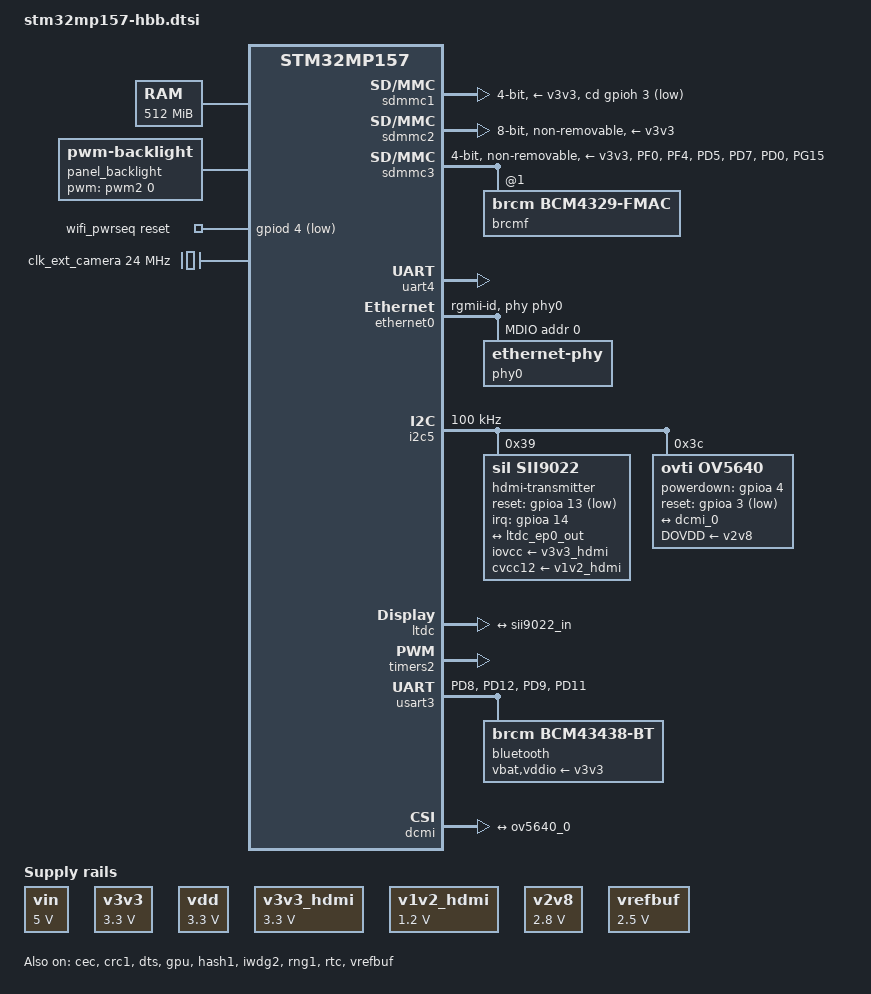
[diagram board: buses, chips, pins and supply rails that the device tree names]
#include "stm32mp157-m4-srm.dtsi"
#include "stm32mp157-m4-srm-pinctrl.dtsi"
#include <dt-bindings/mfd/st,stpmic1.h>
#include <dt-bindings/rtc/rtc-stm32.h>
/ { 
	memory@c0000000 {  
		device_type = "memory";  
		reg = <0xc0000000 0x20000000>;
	};

	reserved-memory {
		#address-cells = <1>;
		#size-cells = <1>;
		ranges;

		mcuram2: mcuram2@10000000 {
				compatible = "shared-dma-pool";
				reg = <0x10000000 0x40000>;
				no-map;
			 };

		vdev0vring0: vdev0vring0@10040000 {
				compatible = "shared-dma-pool";
				reg = <0x10040000 0x1000>;
				no-map;
				 };

		vdev0vring1: vdev0vring1@10041000 {
				 compatible = "shared-dma-pool";
				 reg = <0x10041000 0x1000>;
				 no-map;
			 };

		vdev0buffer: vdev0buffer@10042000 {
				 compatible = "shared-dma-pool";
				 reg = <0x10042000 0x4000>;
				 no-map;
			 };

		mcuram: mcuram@30000000 {
			compatible = "shared-dma-pool";
			reg = <0x30000000 0x40000>;
			no-map;
		};

		retram: retram@38000000 {
			compatible = "shared-dma-pool";
			reg = <0x38000000 0x10000>;
			no-map;
		};
	};

	vin: vin {
			 compatible = "regulator-fixed";
			 regulator-name = "vin";
			 regulator-min-microvolt = <5000000>;
			 regulator-max-microvolt = <5000000>;
			 regulator-always-on;
		 };

	v3v3: regulator-3p3v {
			  compatible = "regulator-fixed";
			  regulator-name = "v3v3";
			  regulator-min-microvolt = <3300000>;
			  regulator-max-microvolt = <3300000>;
			  regulator-always-on;
			  regulator-boot-on;
		  };

	vdd: regulator-vdd { 
			 compatible = "regulator-fixed";
			 regulator-name = "vdd";
			 regulator-min-microvolt = <3300000>;
			 regulator-max-microvolt = <3300000>;
			 regulator-always-on;
			 regulator-boot-on;
		 };

	v3v3_hdmi: regulator-v3v3-hdmi {
			compatible = "regulator-fixed";
			regulator-name = "v3v3_hdmi ";
			regulator-min-microvolt = <3300000>;
			regulator-max-microvolt = <3300000>;
			regulator-always-on;
			regulator-boot-on;
		};
		
	v1v2_hdmi: regulator-v1v2-hdmi {
		compatible = "regulator-fixed";
		regulator-name = "v1v2_hdmi";
		regulator-min-microvolt = <1200000>;
		regulator-max-microvolt = <1200000>;
		regulator-always-on;
		regulator-boot-on;
	};
    panel_backlight: panel-backlight {
        compatible = "pwm-backlight";
        pwms = <&pwm2 0 5000000>;
        brightness-levels = <0 4 8 16 32 64 128 255>;
        default-brightness-level = <6>;
        status = "okay";
};

    wifi_pwrseq: wifi-pwrseq {
        compatible = "mmc-pwrseq-simple";
        reset-gpios = <&gpiod 4 GPIO_ACTIVE_LOW>;
    };
    v2v8: regulator-2p8v {
        compatible = "regulator-fixed";
        regulator-name = "v2v8";
        regulator-min-microvolt = <2800000>;
        regulator-max-microvolt = <2800000>;
        regulator-always-on;
        regulator-boot-on;
    };

    clocks {
        clk_ext_camera: clk-ext-camera {
        #clock-cells = <0>;
        compatible = "fixed-clock";
        clock-frequency = <24000000>;
        };
    };
};

/*HDMI CEC 控制器*/
&cec {
	pinctrl-names = "default", "sleep";
	pinctrl-0 = <&cec_pins_b>;
	pinctrl-1 = <&cec_pins_sleep_b>;
	status = "okay";
};

/*循环冗余校验计算单元*/
&crc1 {
	status = "okay";
};

&dma1 {
	sram = <&dma_pool>;
};

&dma2 {
	sram = <&dma_pool>;
};
/*数字钟温度传感器*/
&dts {
	status = "okay";
};
/*图像处理单元*/
&gpu {
	contiguous-area = <&gpu_reserved>;
	status = "okay";
};
/*哈希处理器*/
&hash1 {
	status = "okay";
};

/*处理器间通信控制器*/
&ipcc {
	status = "okay";
};

/*看门狗*/
&iwdg2 {
	timeout-sec = <32>;
	status = "okay";
};

/*随机数发生器*/
&rng1 {
	status = "okay";
};

/*实时时钟*/
&rtc {
    st,lsco = <RTC_OUT2_RMP>;
    pinctrl-0 = <&rtc_out2_rmp_pins_a>;
    pinctrl-names = "default";
	status = "okay";
};

/*sdmmc1 TF 卡*/
&sdmmc1 {
	pinctrl-names = "default", "opendrain", "sleep";
	pinctrl-0 = <&sdmmc1_b4_pins_a>;
	pinctrl-1 = <&sdmmc1_b4_od_pins_a>;
	pinctrl-2 = <&sdmmc1_b4_sleep_pins_a>;
	cd-gpios = <&gpioh 3 (GPIO_ACTIVE_LOW | GPIO_PULL_UP)>;
	disable-wp;
	st,neg-edge;
	bus-width = <4>;
	vmmc-supply = <&v3v3>;
	status = "okay";
};

/*emmc设备树配置*/
&sdmmc2 {
	pinctrl-names = "default", "opendrain", "sleep";
	pinctrl-0 = <&sdmmc2_b4_pins_a &sdmmc2_d47_pins_a>;
	pinctrl-1 = <&sdmmc2_b4_od_pins_a &sdmmc2_d47_pins_a>;
	pinctrl-2 = <&sdmmc2_b4_sleep_pins_a &sdmmc2_d47_sleep_pins_a>;
	non-removable;
	no-sd;
	no-sdio;
	st,neg-edge;
	bus-width = <8>;
	vmmc-supply = <&v3v3>;
	vqmmc-supply = <&vdd>;
	mmc-ddr-3_3v;
	status = "okay";
};

/*
&sdmmc3{
    arm,primecell-periphid = <0x10153180>;
    pinctrl-names = "default", "opendrain", "sleep";
    pinctrl-0 = <&sdmmc3_b4_wifi_pins_a>;
    pinctrl-1 = <&sdmmc3_b4_od_wifi_pins_a>;
    pinctrl-2 = <&sdmmc3_b4_sleep_wifi_pins_a>;
    non-removable;
    st,neg-edge;
    bus-width = <4>;
    vmmc-supply = <&v3v3>;
    mmc-pwrseq = <&wifi_pwrseq>;
    #address-cells = <1>;
    #size-cells = <0>;
    keep-power-in-suspend;
    status = "okay";

    brcmf: bcrmf@1 {
        reg = <1>;
        compatible = "brcm,bcm4329-fmac";
    };
};*/



&sdmmc3 {
    arm,primecell-periphid = <0x10153180>;
    pinctrl-names = "default", "opendrain", "sleep";
    pinctrl-0 = <&sdmmc3_b4_wifi_pins_a>;
    pinctrl-1 = <&sdmmc3_b4_od_wifi_pins_a>;
    pinctrl-2 = <&sdmmc3_b4_sleep_wifi_pins_a>;
    non-removable;
    st,neg-edge;
    bus-width = <4>;
    vmmc-supply = <&v3v3>;
    mmc-pwrseq = <&wifi_pwrseq>;
    #address-cells = <1>;
    #size-cells = <0>;
    keep-power-in-suspend;
    status = "okay";

    brcmf: bcrmf@1 {
        reg = <1>;
        compatible = "brcm,bcm4329-fmac";
    };
};
&sram {
dma_pool: dma_pool@0 {
		  reg = <0x50000 0x10000>;
		  pool;
	  };
};

/*命令行终端*/
&uart4 {
	pinctrl-names = "default", "sleep", "idle";
	pinctrl-0 = <&uart4_pins_a>;
	pinctrl-1 = <&uart4_sleep_pins_a>;
	pinctrl-2 = <&uart4_idle_pins_a>;
	pinctrl-3 = <&uart4_pins_a>;
	/delete-property/dmas;
	/delete-property/dma-names;
	status = "okay";
};

/*电源基准缓冲器*/
&vrefbuf {
	regulator-min-microvolt = <2500000>;
	regulator-max-microvolt = <2500000>;
	vdda-supply = <&vdd>;
	status = "okay"; 
};

/*网卡驱动设备树配置*/
&ethernet0 {
	status = "okay";
	pinctrl-0 = <&ethernet0_rgmii_pins_a>;
	pinctrl-1 = <&ethernet0_rgmii_pins_sleep_a>;
	pinctrl-names = "default", "sleep";
	phy-mode = "rgmii-id";
	max-speed = <1000>;
	phy-handle = <&phy0>;
	mdio0 {
		#address-cells = <1>;
			#size-cells = <0>;
			compatible = "snps,dwmac-mdio";
			phy0: ethernet-phy@0 {
			reg = <0>;
			};
		};
};

/*HDMI配置*/
&i2c5 {
	pinctrl-names = "default", "sleep";
	pinctrl-0 = <&i2c5_pins_a>;
	pinctrl-1 = <&i2c5_pins_sleep_a>;
	i2c-scl-rising-time-ns = <100>;
	i2c-scl-falling-time-ns = <7>;
	clock-frequency = <100000>;
	/* spare dmas for other usage */
	/delete-property/dmas;
	/delete-property/dma-names;
	status = "okay";
	hdmi-transmitter@39 {
		compatible = "sil,sii9022";
		reg = <0x39>;
		iovcc-supply = <&v3v3_hdmi>;
		cvcc12-supply = <&v1v2_hdmi>;
		reset-gpios = <&gpioa 13 GPIO_ACTIVE_LOW>;
		interrupts = <14 IRQ_TYPE_EDGE_FALLING>;
		interrupt-parent = <&gpioa>;
		#sound-dai-cells = <0>;
		status = "okay";
		ports {
			#address-cells = <1>;
			#size-cells = <0>;
			port@0 {
				reg = <0>;
				sii9022_in: endpoint {
					remote-endpoint = <&ltdc_ep0_out>;
					};
				};
			};
		};

    ov5640: camera@3c {
        compatible = "ovti,ov5640";
        reg = <0x3c>;
        clocks = <&clk_ext_camera>;
        clock-names = "xclk";
        DOVDD-supply = <&v2v8>;
        powerdown-gpios = <&gpioa 4 (GPIO_ACTIVE_HIGH | GPIO_PUSH_PULL)>;
        reset-gpios = <&gpioa 3 (GPIO_ACTIVE_LOW | GPIO_PUSH_PULL)>;
        rotation = <180>;
        status = "okay";
        port {
            ov5640_0: endpoint {
            remote-endpoint = <&dcmi_0>;
            bus-width = <8>;
            data-shift = <2>; /* lines 9:2 are used */
            hsync-active = <0>;
            vsync-active = <0>;
            pclk-sample = <1>;
            pclk-max-frequency = <77000000>;
         };
         };
    };
	};
	
&ltdc {
	pinctrl-names = "default", "sleep";
	pinctrl-0 = <&ltdc_pins_b>;
	pinctrl-1 = <&ltdc_pins_sleep_b>;
	status = "okay";
	port {
		#address-cells = <1>;
		#size-cells = <0>;
		ltdc_ep0_out: endpoint@0 {
			reg = <0>;
			remote-endpoint = <&sii9022_in>;
		};
	};
};

&timers2 {
	/* spare dmas for other usage */
	/delete-property/dmas;
	/delete-property/dma-names;
	status = "okay";
	pwm2: pwm {
		pinctrl-0 = <&pwm2_pins_b>;
		pinctrl-1 = <&pwm2_sleep_pins_b>;
		pinctrl-names = "default", "sleep";
		#pwm-cells = <2>;
		status = "okay";
	};
	timer@2 {
		status = "disabled";
	};
};
&pinctrl {
    usart3_pins_bt: usart3-bt-0 {
    	pins1 {
       		pinmux = <STM32_PINMUX('D', 8, AF7)>, /* USART3_TX */
              <STM32_PINMUX('D', 12, AF7)>; /* USART3_RTS */
       		bias-disable;
       		drive-push-pull;
       		slew-rate = <0>;
    	};
    	pins2 {
       		pinmux = <STM32_PINMUX('D', 9, AF7)>, /* USART3_RX */
              <STM32_PINMUX('D', 11, AF7)>; /* USART3_CTS_NSS */
       		bias-disable;
    	};
	};

	usart3_idle_pins_bt: usart3-idle-bt-0 {
    	pins1 {
        	pinmux = <STM32_PINMUX('D', 8, ANALOG)>, /* USART3_TX */
               <STM32_PINMUX('D', 12, ANALOG)>, /* USART3_RTS */
               <STM32_PINMUX('D', 11, ANALOG)>; /* USART3_CTS_NSS */
    	};
    	pins2 {
        	pinmux = <STM32_PINMUX('D', 9, AF7)>; /* USART3_RX */
        	bias-disable;
    	};
	};

	usart3_sleep_pins_bt: usart3-sleep-bt-0 {
    	pins {
        	pinmux = <STM32_PINMUX('D', 8, ANALOG)>, /* USART3_TX */
                <STM32_PINMUX('D', 12, ANALOG)>, /* USART3_RTS */
                <STM32_PINMUX('D', 11, ANALOG)>, /* USART3_CTS_NSS */
                <STM32_PINMUX('D', 9, ANALOG)>; /* USART3_RX */
    	};
	};

    btreg0: bt_reg_on-0 {
    	pins {
        	pinmux = <STM32_PINMUX('D', 13, GPIO)>;
        	drive-push-pull;
        	bias-pull-up;
        	output-high;
        	slew-rate = <0>;
    	};
	};

    sdmmc3_b4_wifi_pins_a: sdmmc3-b4-wifi-0 {
    	pins1 {
        	pinmux = <STM32_PINMUX('F', 0, AF9)>, /* SDMMC3_D0 */
             	<STM32_PINMUX('F', 4, AF9)>, /* SDMMC3_D1 */
             	<STM32_PINMUX('D', 5, AF10)>, /* SDMMC3_D2 */
            	<STM32_PINMUX('D', 7, AF10)>, /* SDMMC3_D3 */
             	<STM32_PINMUX('D', 0, AF10)>; /* SDMMC3_CMD */
        	slew-rate = <1>;
        	drive-push-pull;
        	bias-pull-up;
    	};
    	pins2 {
        	pinmux = <STM32_PINMUX('G', 15, AF10)>; /* SDMMC3_CK */
        	slew-rate = <2>;
        	drive-push-pull;
        	bias-pull-up;
    	};
	};

	sdmmc3_b4_od_wifi_pins_a: sdmmc3-b4-od-wifi-0 {
    	pins1 {
        	pinmux = <STM32_PINMUX('F', 0, AF9)>, /* SDMMC3_D0 */
            	<STM32_PINMUX('F', 4, AF9)>, /* SDMMC3_D1 */
             	<STM32_PINMUX('D', 5, AF10)>, /* SDMMC3_D2 */
             	<STM32_PINMUX('D', 7, AF10)>; /* SDMMC3_D3 */
        	slew-rate = <1>;
        	drive-push-pull;
        	bias-pull-up;
    	};

    	pins2 {
        	pinmux = <STM32_PINMUX('G', 15, AF10)>; /* SDMMC3_CK */
        	slew-rate = <2>;
        	drive-push-pull;
        	bias-pull-up;
    	};

    	pins3 {
        	pinmux = <STM32_PINMUX('D', 0, AF10)>; /* SDMMC2_CMD */
        	slew-rate = <1>;
        	drive-open-drain;
        	bias-pull-up;
    	};
	};

	sdmmc3_b4_sleep_wifi_pins_a: sdmmc3-b4-sleep-wifi-0 {
    	pins {
        	pinmux = <STM32_PINMUX('F', 0, ANALOG)>, /* SDMMC3_D0 */
             	<STM32_PINMUX('F', 4, ANALOG)>, /* SDMMC3_D1 */
             	<STM32_PINMUX('D', 5, ANALOG)>, /* SDMMC3_D2 */
             	<STM32_PINMUX('D', 7, ANALOG)>, /* SDMMC3_D3 */
             	<STM32_PINMUX('G', 15, ANALOG)>, /* SDMMC3_CK */
             	<STM32_PINMUX('D', 0, ANALOG)>; /* SDMMC3_CMD */
    	};
	};


	pwm2_pins_b: pwm2-0 {
		pins {
			pinmux = <STM32_PINMUX('A', 5, AF1)>; /* TIM2_CH1 */
			bias-pull-down;
			drive-push-pull;
			slew-rate = <0>;
		};
	};
	pwm2_sleep_pins_b: pwm1-sleep-0 {
		pins {
		pinmux = <STM32_PINMUX('A', 5, ANALOG)>; /* TIM2_CH1 */
		};
	};
};

&usart3 {
    pinctrl-names = "default", "sleep", "idle";
    pinctrl-0 = <&usart3_pins_bt>;
     pinctrl-1 = <&usart3_idle_pins_bt>;
     pinctrl-2 = <&usart3_sleep_pins_bt>;
     uart-has-rtscts;
     status = "okay";

     bluetooth {
         pinctrl-names = "default";
         pinctrl-0 = <&btreg0>;
         compatible = "brcm,bcm43438-bt";
         max-speed = <3000000>;
         vbat-supply = <&v3v3>;
         vddio-supply = <&v3v3>;
    };
};

&dcmi {
    status = "okay";
    pinctrl-names = "default", "sleep";
    pinctrl-0 = <&dcmi_pins_a>;
    pinctrl-1 = <&dcmi_sleep_pins_a>;
    port {
    dcmi_0: endpoint {
        remote-endpoint = <&ov5640_0>;
        bus-width = <8>;
        hsync-active = <0>;
        vsync-active = <0>;
        pclk-sample = <1>;
        pclk-max-frequency = <77000000>;
        };
    };
};
